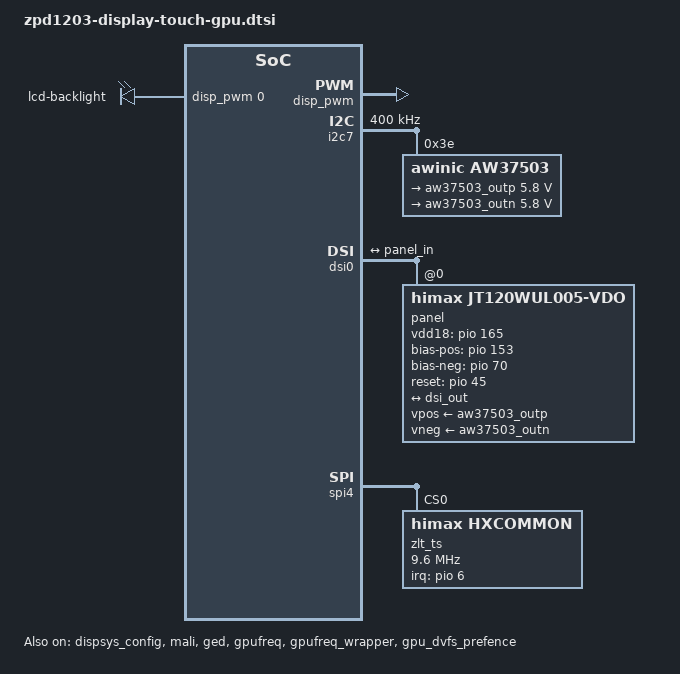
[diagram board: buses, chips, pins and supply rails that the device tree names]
// SPDX-License-Identifier: GPL-2.0
/*
 * ZPD1203 Display, Backlight, Himax Touch, and Mali GPU Device Tree Include
 *
 * Verified hardware sources (Phase 1 stock extraction + 5.10.240 reference):
 * - Panel: HX83102-E/J jt120wul005_a01_dsi_vdo (1200x2000, 156x261 mm, 4-lane DSI)
 * - Bias IC: Awinic AW37503 on I2C7 @ 0x3e (compatible "aw,aw37503" in stock DTBO)
 * - Panel GPIOs: vdd18=GPIO165, bias-pos=GPIO153, bias-neg=GPIO70, reset=GPIO45
 * - Backlight: MTK DISP_PWM0 (GPIO43) via mtk_ledspwm ("mediatek,pwm-leds")
 * - Touch: Himax HX83102 SPI4 @ 0x0 ("himax,hxcommon"), CS/CLK/MO/MI=GPIO17..20,
 *          IRQ=GPIO6. GPIO158 stays untouched to avoid resetting display.
 * - GPU: Mali-G52 MC2 (0x13040000) + GED + MT6768 GPUFreq v2_legacy
 */

#include <dt-bindings/gpio/gpio.h>
#include <dt-bindings/pinctrl/mt6768-pinfunc.h>

&pio {
	zpd_disp_pwm_pins: zpd_disp_pwm_pins {
		pins_cmd_dat {
			pinmux = <PINMUX_GPIO43__FUNC_DISP_PWM>;
		};
	};

	mtkfb_pins_lcm_rst_out1_gpio: mtkfb_pins_lcm_rst_out1_gpio {
		pins_cmd_dat {
			pinmux = <PINMUX_GPIO45__FUNC_GPIO45>;
			slew-rate = <1>;
			output-high;
		};
	};

	mtkfb_pins_lcm_rst_out0_gpio: mtkfb_pins_lcm_rst_out0_gpio {
		pins_cmd_dat {
			pinmux = <PINMUX_GPIO45__FUNC_GPIO45>;
			slew-rate = <1>;
			output-low;
		};
	};

	mtkfb_pins_lcm_dsi_te: mtkfb_pins_lcm_dsi_te {
		pins_cmd_dat {
			pinmux = <PINMUX_GPIO44__FUNC_DSI_TE>;
		};
	};

	ts_spi_default: ts_spi_default {
		pins_cmd_dat {
			pinmux = <PINMUX_GPIO17__FUNC_GPIO17>,
				 <PINMUX_GPIO18__FUNC_GPIO18>,
				 <PINMUX_GPIO19__FUNC_GPIO19>,
				 <PINMUX_GPIO20__FUNC_GPIO20>;
			output-low;
		};
	};

	ts_spi_active: ts_spi_active {
		pins_cmd_dat {
			pinmux = <PINMUX_GPIO17__FUNC_SPI4_MI>,
				 <PINMUX_GPIO18__FUNC_SPI4_CSB>,
				 <PINMUX_GPIO19__FUNC_SPI4_MO>,
				 <PINMUX_GPIO20__FUNC_SPI4_CLK>;
			drive-strength = <2>;
		};
	};

	ts_int_active: ts_int_active {
		pins_cmd_dat {
			pinmux = <PINMUX_GPIO6__FUNC_GPIO6>;
			input-enable;
		};
	};
};

&disp_pwm {
	pinctrl-names = "default";
	pinctrl-0 = <&zpd_disp_pwm_pins>;
	status = "okay";
};

&mtk_leds {
	compatible = "mediatek,pwm-leds";
	backlight {
		label = "lcd-backlight";
		max-brightness = <255>;
		max-hw-brightness = <1023>;
		min-hw-brightness = <4>;
		led-mode = <5>;
		led_mode = <5>;
		pwms = <&disp_pwm 0 39385>;
		pwm-names = "lcd-backlight";
		pwm_config = <0 3 0 0 0>;
	};
};

&i2c7 {
	#address-cells = <1>;
	#size-cells = <0>;
	clock-frequency = <400000>;
	mediatek,use-open-drain;
	status = "okay";

	aw37503@3e {
		compatible = "awinic,aw37503";
		reg = <0x3e>;
		status = "okay";

		aw37503_outp: outp {
			regulator-name = "aw37503-outp";
			regulator-min-microvolt = <5800000>;
			regulator-max-microvolt = <5800000>;
			regulator-boot-on;
		};

		aw37503_outn: outn {
			regulator-name = "aw37503-outn";
			regulator-min-microvolt = <5800000>;
			regulator-max-microvolt = <5800000>;
			regulator-boot-on;
		};
	};
};

&dispsys_config {
	pinctrl-names = "lcm_rst_out1_gpio", "lcm_rst_out0_gpio", "mode_te_te";
	pinctrl-0 = <&mtkfb_pins_lcm_rst_out1_gpio>;
	pinctrl-1 = <&mtkfb_pins_lcm_rst_out0_gpio>;
	pinctrl-2 = <&mtkfb_pins_lcm_dsi_te>;
	/delete-property/ interconnects;
	/delete-property/ interconnect-names;
	/delete-property/ dvfsrc-required-opps;
	/delete-property/ mmdvfs-dvfsrc-vcore-supply;
	status = "okay";
};

&dsi0 {
	status = "okay";
	#address-cells = <1>;
	#size-cells = <0>;

	panel: panel@0 {
		compatible = "himax,jt120wul005-vdo";
		reg = <0>;
		vdd18-gpios = <&pio 165 GPIO_ACTIVE_HIGH>;
		bias-pos-gpios = <&pio 153 GPIO_ACTIVE_HIGH>;
		bias-neg-gpios = <&pio 70 GPIO_ACTIVE_HIGH>;
		reset-gpios = <&pio 45 GPIO_ACTIVE_HIGH>;
		vpos-supply = <&aw37503_outp>;
		vneg-supply = <&aw37503_outn>;
		status = "okay";

		port {
			panel_in: endpoint {
				remote-endpoint = <&dsi_out>;
			};
		};
	};

	ports {
		port {
			dsi_out: endpoint {
				remote-endpoint = <&panel_in>;
			};
		};
	};
};

&spi4 {
	status = "okay";
	#address-cells = <1>;
	#size-cells = <0>;

	zlt_ts@0 {
		compatible = "himax,hxcommon";
		reg = <0>;
		spi-max-frequency = <9600000>;
		pinctrl-names = "default", "active";
		pinctrl-0 = <&ts_spi_default>;
		pinctrl-1 = <&ts_spi_active &ts_int_active>;
		himax,zpd1203-touch;
		himax,panel-coords = <0 1200 0 2000>;
		himax,display-coords = <1200 2000>;
		report_type = <1>;
		himax,irq-gpio = <&pio 6 GPIO_ACTIVE_HIGH>;
		status = "okay";
	};
};

&mali {
	status = "okay";
};

&ged {
	status = "okay";
};

&gpufreq {
	status = "okay";
};

&gpufreq_wrapper {
	status = "okay";
};

&gpu_mali_opp {
	status = "okay";
};

&gpu_dvfs_prefence {
	status = "okay";
};
